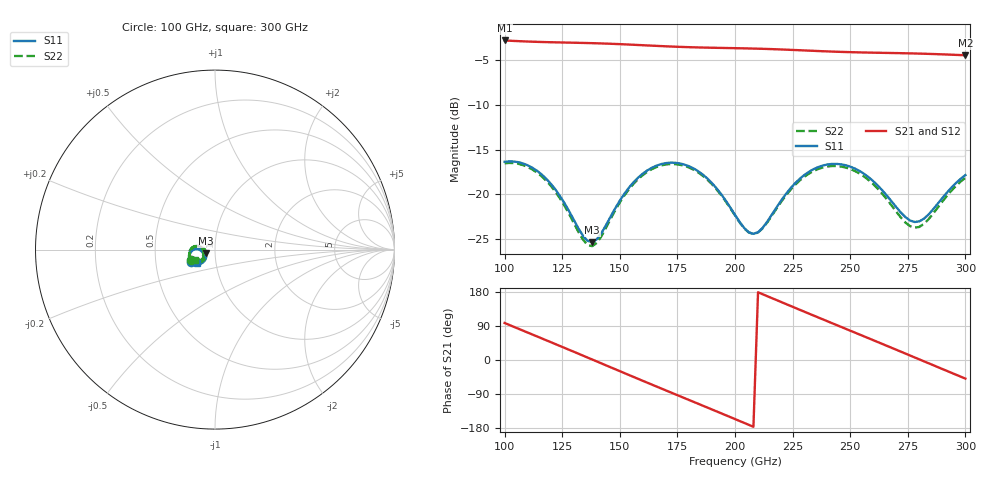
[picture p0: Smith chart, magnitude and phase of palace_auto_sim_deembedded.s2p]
! Created with skrf 1.11.0 (http://scikit-rf.org).
# GHz S DB R 50.0
!freq dBS11 angS11 dBS21 angS21 dBS12 angS12 dBS22 angS22
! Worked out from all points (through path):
!   101 points, 100 GHz to 300 GHz, reference 50 ohm
!   highest |S21| = -2.82 dB at 100 GHz (marker M1); lowest = -4.5 dB at 300 GHz (marker M2)
!   group delay of S21, straight-line fit = 7.04 ps
!   lowest |S11| = -25.3 dB at 138 GHz (marker M3), VSWR 1.11, Z = 45.2 - j1.77 ohm
!   |S11| at or under -10 dB: start of sweep to end of sweep
!   |S22| runs from -25.8 to -16.5 dB; largest |S21 - S12| = 7.6e-14
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100  -16.37 -152.3  -2.82 97.7  -2.82 97.7  -16.54 -156.1
108  -16.56 -166.9  -2.92 77.5  -2.92 77.5  -16.74 -170.9
116  -17.77 -179.7  -2.99 57.3  -2.99 57.3  -17.98 175.9
126  -20.99 171.8  -3.06 32.0  -3.06 32.0  -21.28 166.9
134  -24.62 -175.8  -3.10 11.6  -3.10 11.6  -25.06 179.6
138  -25.35 -158.8  -3.13 1.4  -3.13 1.4  -25.79 -162.6
152  -19.93 -133.4  -3.26 -34.6  -3.26 -34.6  -20.12 -137.3
168  -16.63 -153.3  -3.45 -75.2  -3.45 -75.2  -16.78 -158.2
176  -16.55 -165.9  -3.54 -95.3  -3.54 -95.3  -16.70 -171.1
184  -17.42 -177.5  -3.60 -115.4  -3.60 -115.4  -17.56 177.0
200  -22.29 176.2  -3.69 -155.9  -3.69 -155.9  -22.36 170.2
206  -24.24 -168.7  -3.72 -171.1  -3.72 -171.1  -24.27 -175.4
210  -24.23 -153.8  -3.74 178.7  -3.74 178.7  -24.26 -161.1
222  -20.00 -136.3  -3.85 148.0  -3.85 148.0  -20.16 -144.3
234  -17.21 -147.2  -3.98 117.6  -3.98 117.6  -17.41 -155.6
242  -16.61 -158.2  -4.06 97.5  -4.06 97.5  -16.84 -166.9
250  -16.91 -169.1  -4.13 77.4  -4.13 77.4  -17.17 -178.2
258  -18.09 -178.0  -4.18 57.4  -4.18 57.4  -18.41 172.5
268  -20.80 179.5  -4.23 32.1  -4.23 32.1  -21.26 169.6
280  -23.02 -155.8  -4.29 1.7  -4.29 1.7  -23.64 -164.2
290  -20.41 -139.6  -4.38 -23.8  -4.38 -23.8  -20.81 -147.6
300  -17.86 -143.4  -4.48 -49.1  -4.48 -49.1  -18.15 -152.2
